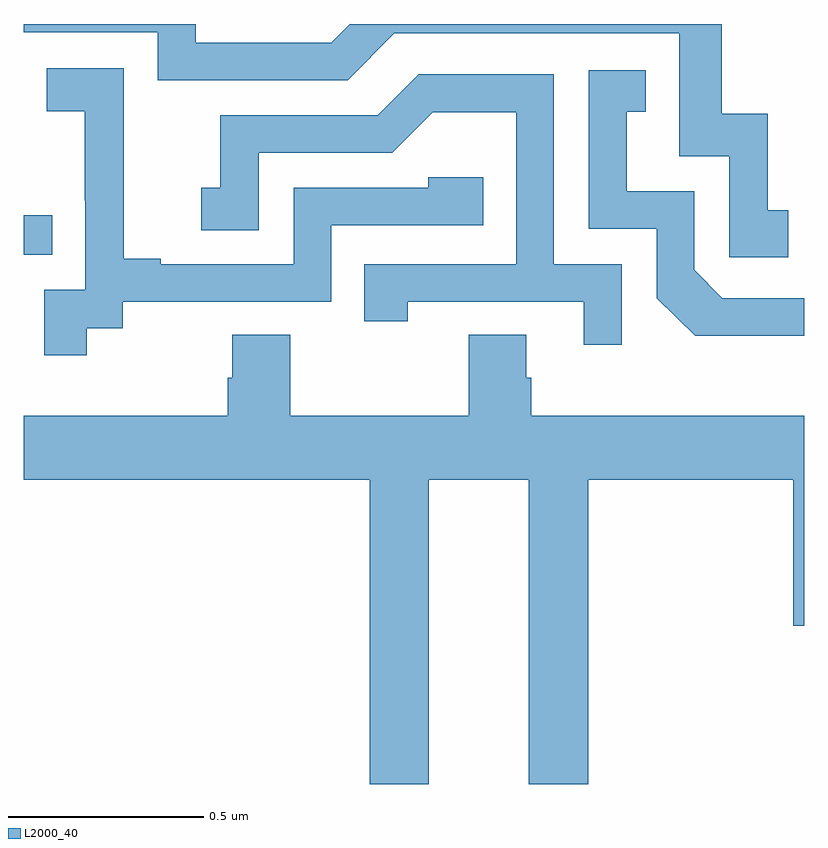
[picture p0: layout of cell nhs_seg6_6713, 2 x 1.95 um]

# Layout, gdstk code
import gdstk
lib = gdstk.Library(unit=1e-6, precision=1e-09)
def R(c, l, rs):  # rectangles x0, y0, x1, y1
    for r in rs: c.add(gdstk.rectangle(r[:2], r[2:], *l))
def P(c, l, *ps):  # polygons
    for p in ps: c.add(gdstk.Polygon(p, *l))
L2000_40 = (2000, 40)

nhs_seg6_6713 = lib.new_cell('nhs_seg6_6713')
R(nhs_seg6_6713, L2000_40, [(199,951.909,199.073,952.01)])
P(nhs_seg6_6713, L2000_40, [(200.959,952.023),(200.906,952.023),(200.906,952.27),(200.788,952.27),(200.788,952.5),(199.836,952.5),(199.788,952.452),(199.441,952.452),(199.441,952.5),(199,952.5),(199,952.479),(199.344,952.479),(199.344,952.356),(199.83,952.356),(199.95,952.476),(200.679,952.476),(200.679,952.161),(200.808,952.161),(200.808,951.903),(200.959,951.903)],
  [(199.162,951.721),(199.254,951.721),(199.254,951.789),(199.788,951.789),(199.788,951.984),(200.177,951.984),(200.177,952.107),(200.037,952.107),(200.037,952.08),(199.692,952.08),(199.692,951.885),(199.351,951.885),(199.351,951.898),(199.256,951.898),(199.256,952.181),(199.257,952.181),(199.257,952.387),(199.059,952.387),(199.059,952.277),(199.157,952.277),(199.157,952.049),(199.158,952.049),(199.158,951.819),(199.053,951.819),(199.053,951.651),(199.162,951.651)],
  [(201,951.798),(200.79,951.798),(200.718,951.87),(200.718,952.071),(200.545,952.071),(200.545,952.275),(200.594,952.275),(200.594,952.381),(200.448,952.381),(200.448,951.975),(200.622,951.975),(200.622,951.798),(200.72,951.701),(201,951.701)],
  [(200.532,951.885),(200.358,951.885),(200.358,952.371),(200.012,952.371),(199.907,952.266),(199.504,952.266),(199.504,952.081),(199.455,952.081),(199.455,951.972),(199.602,951.972),(199.602,952.17),(199.944,952.17),(200.048,952.274),(200.262,952.274),(200.262,951.885),(199.873,951.885),(199.873,951.738),(199.984,951.738),(199.984,951.789),(200.435,951.789),(200.435,951.678),(200.532,951.678)],
  [(200.038,951.332),(200.294,951.332),(200.294,950.553),(200.447,950.553),(200.447,951.332),(200.972,951.332),(200.972,950.958),(201,950.958),(201,951.496),(200.3,951.496),(200.3,951.594),(200.287,951.594),(200.287,951.704),(200.14,951.704),(200.14,951.496),(199.683,951.496),(199.683,951.704),(199.535,951.704),(199.535,951.594),(199.523,951.594),(199.523,951.496),(199,951.496),(199,951.332),(199.886,951.332),(199.886,950.553),(200.038,950.553)])

lib.write_gds('nhs_seg6_6713.gds')
